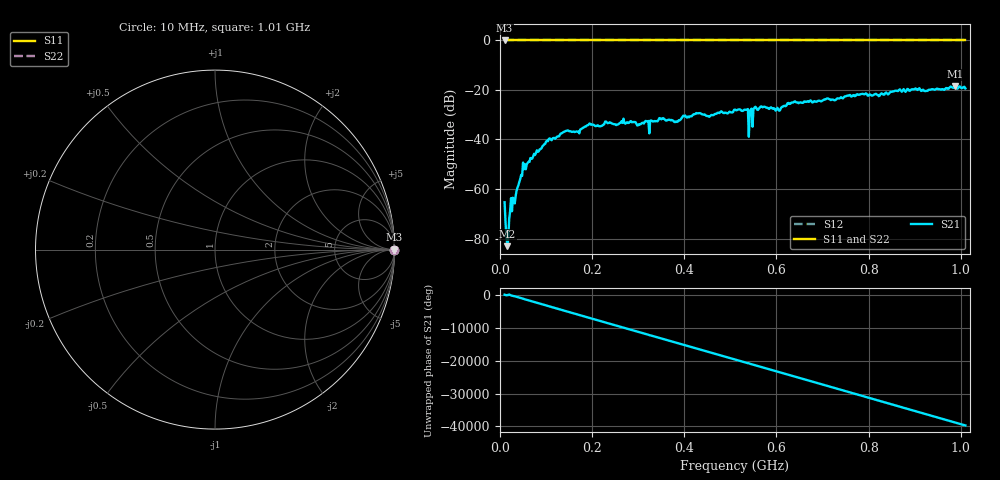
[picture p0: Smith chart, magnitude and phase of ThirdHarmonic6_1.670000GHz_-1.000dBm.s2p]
! 8/16/2025 8:01:41 PM
! C:\ANRITSUVNA\TEMP\TEMP.S2P
! CHANNEL.1
! TR.MEASUREMENT
! RAW.DATA
! RF.CORRECTION.OFF
! AVERAGING.OFF
! IF.BANDWIDTH: 5KHZ
! SWEEPTYPE:  FREQ.SWEEP(Linear)
! Reference Plane Port Info
! PORT:  PORT1  PORT2
! DISTANCE:  0  m  0  m
! TIME:  0  s  0  s
! PHASE.OFFSET:  0  deg.  0  deg.
! LOSS:  0  dB  0  dB
! REF.LOSS:  0  dB  0  dB
! REF.FREQ:  0  Hz  0  Hz
! Power Info
! POWER:  -20  dBm  -20  dBm
! EFF.POWER:  -20  dBm  -20  dBm
! SOURCE.ATTEN:  0  dB  0  dB
! TEST.ATTEN:  0  dB  0  dB
# GHZ S RI R 50.0
! FREQ.GHZ  S11RE  S11IM  S21RE  S21IM  S12RE  S12IM  S22RE  S22IM
!; PortSelection: Port_12
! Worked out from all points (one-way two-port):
!   501 points, 10 MHz to 1.01 GHz, reference 50 ohm
!   highest |S21| = -18.48 dB at 988 MHz (marker M1); lowest = -83.1 dB at 16 MHz (marker M2)
!   lowest |S11| = 0.0 dB at 10 MHz (marker M3)
!   |S11| at or under -10 dB: nowhere
!   |S22| runs from 0.0 to 0.0 dB; largest |S21 - S12| = 1.1
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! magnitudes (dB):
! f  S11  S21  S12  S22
! 10 MHz  0.0  -65.4  0.0  0.0
! 16 MHz  0.0  -83.1  0.0  0.0
! 26 MHz  0.0  -69.0  0.0  0.0
! 54 MHz  0.0  -50.0  0.0  0.0
! 104 MHz  0.0  -40.7  0.0  0.0
! 178 MHz  0.0  -35.5  0.0  0.0
! 344 MHz  0.0  -32.1  0.0  0.0
! 382 MHz  0.0  -32.7  0.0  0.0
! 428 MHz  0.0  -29.4  0.0  0.0
! 452 MHz  0.0  -30.6  0.0  0.0
! 510 MHz  0.0  -27.9  0.0  0.0
! 534 MHz  0.0  -28.0  0.0  0.0
! 536 MHz  0.0  -27.9  0.0  0.0
! 544 MHz  0.0  -28.1  0.0  0.0
! 546 MHz  0.0  -27.5  0.0  0.0
! 554 MHz  0.0  -26.8  0.0  0.0
! 602 MHz  0.0  -27.2  0.0  0.0
! 636 MHz  0.0  -25.1  0.0  0.0
! 678 MHz  0.0  -25.1  0.0  0.0
! 844 MHz  0.0  -21.5  0.0  0.0
! 988 MHz  0.0  -18.5  0.0  0.0
! 1.01 GHz  0.0  -19.4  0.0  0.0
